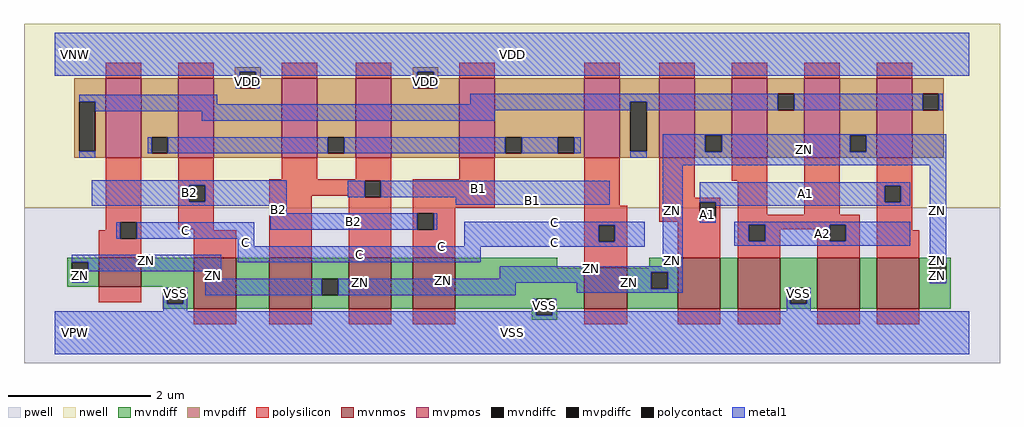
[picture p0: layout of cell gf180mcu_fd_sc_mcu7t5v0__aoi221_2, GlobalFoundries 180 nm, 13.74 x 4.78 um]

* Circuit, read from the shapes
.subckt gf180mcu_fd_sc_mcu7t5v0__aoi221_2 A1 A2 B1 B2 C ZN VDD VNW VPW VSS
XM1 VSS C ZN VPW nfet_06v0 w=0.405u l=0.6u
XM2 n1 B2 VSS VPW nfet_06v0 w=0.715u l=0.6u
XM3 ZN B1 n1 VPW nfet_06v0 w=0.715u l=0.6u
XM4 n2 B1 ZN VPW nfet_06v0 w=0.715u l=0.6u
XM5 VSS B2 n2 VPW nfet_06v0 w=0.715u l=0.6u
XM6 ZN C VSS VPW nfet_06v0 w=0.575u l=0.6u
XM7 n3 A1 ZN VPW nfet_06v0 w=0.715u l=0.6u
XM8 VSS A2 n3 VPW nfet_06v0 w=0.715u l=0.6u
XM9 n4 A2 VSS VPW nfet_06v0 w=0.715u l=0.6u
XM10 ZN A1 n4 VPW nfet_06v0 w=0.715u l=0.6u
XM11 n5 C n6 VNW pfet_06v0 w=1.12u l=0.5u m=2
XM12 VDD B2 n5 VNW pfet_06v0 w=1.12u l=0.5u m=2
XM13 n5 B1 VDD VNW pfet_06v0 w=1.12u l=0.5u m=2
XM14 ZN A1 n6 VNW pfet_06v0 w=1.12u l=0.5u m=2
XM15 n6 A2 ZN VNW pfet_06v0 w=1.12u l=0.5u m=2
.ends

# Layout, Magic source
magic
tech gf180mcuD
magscale 1 10
<< nwell >>
rect -86 352 2662 870
<< pwell >>
rect -86 -86 2662 352
<< mvnmos >>
rect 124 130 244 211
rect 392 68 512 211
rect 604 68 724 211
rect 828 68 948 211
rect 1008 68 1128 211
rect 1492 68 1612 183
rect 1755 68 1875 211
rect 1923 68 2043 211
rect 2147 68 2267 211
rect 2315 68 2435 211
<< mvpmos >>
rect 144 492 244 716
rect 348 492 448 716
rect 640 492 740 716
rect 848 492 948 716
rect 1140 492 1240 716
rect 1492 492 1592 716
rect 1703 492 1803 716
rect 1907 492 2007 716
rect 2111 492 2211 716
rect 2315 492 2415 716
<< mvndiff >>
rect 36 198 124 211
rect 36 152 49 198
rect 95 152 124 198
rect 36 130 124 152
rect 244 130 392 211
rect 304 127 392 130
rect 304 81 317 127
rect 363 81 392 127
rect 304 68 392 81
rect 512 68 604 211
rect 724 152 828 211
rect 724 106 753 152
rect 799 106 828 152
rect 724 68 828 106
rect 948 68 1008 211
rect 1128 183 1415 211
rect 1675 183 1755 211
rect 1128 95 1492 183
rect 1128 68 1356 95
rect 1343 49 1356 68
rect 1402 68 1492 95
rect 1612 170 1755 183
rect 1612 124 1680 170
rect 1726 124 1755 170
rect 1612 68 1755 124
rect 1875 68 1923 211
rect 2043 127 2147 211
rect 2043 81 2072 127
rect 2118 81 2147 127
rect 2043 68 2147 81
rect 2267 68 2315 211
rect 2435 197 2523 211
rect 2435 151 2464 197
rect 2510 151 2523 197
rect 2435 68 2523 151
rect 1402 49 1415 68
rect 1343 36 1415 49
<< mvpdiff >>
rect 508 735 580 748
rect 508 716 521 735
rect 56 651 144 716
rect 56 511 69 651
rect 115 511 144 651
rect 56 492 144 511
rect 244 551 348 716
rect 244 505 273 551
rect 319 505 348 551
rect 244 492 348 505
rect 448 689 521 716
rect 567 716 580 735
rect 1008 735 1080 748
rect 1008 716 1021 735
rect 567 689 640 716
rect 448 492 640 689
rect 740 551 848 716
rect 740 505 769 551
rect 815 505 848 551
rect 740 492 848 505
rect 948 689 1021 716
rect 1067 716 1080 735
rect 1067 689 1140 716
rect 948 492 1140 689
rect 1240 551 1492 716
rect 1240 505 1269 551
rect 1315 505 1417 551
rect 1463 505 1492 551
rect 1240 492 1492 505
rect 1592 651 1703 716
rect 1592 511 1621 651
rect 1667 511 1703 651
rect 1592 492 1703 511
rect 1803 556 1907 716
rect 1803 510 1832 556
rect 1878 510 1907 556
rect 1803 492 1907 510
rect 2007 673 2111 716
rect 2007 627 2036 673
rect 2082 627 2111 673
rect 2007 492 2111 627
rect 2211 556 2315 716
rect 2211 510 2240 556
rect 2286 510 2315 556
rect 2211 492 2315 510
rect 2415 673 2503 716
rect 2415 627 2444 673
rect 2490 627 2503 673
rect 2415 492 2503 627
<< mvndiffc >>
rect 49 152 95 198
rect 317 81 363 127
rect 753 106 799 152
rect 1356 49 1402 95
rect 1680 124 1726 170
rect 2072 81 2118 127
rect 2464 151 2510 197
<< mvpdiffc >>
rect 69 511 115 651
rect 273 505 319 551
rect 521 689 567 735
rect 769 505 815 551
rect 1021 689 1067 735
rect 1269 505 1315 551
rect 1417 505 1463 551
rect 1621 511 1667 651
rect 1832 510 1878 556
rect 2036 627 2082 673
rect 2240 510 2286 556
rect 2444 627 2490 673
<< polysilicon >>
rect 144 716 244 760
rect 348 716 448 760
rect 640 716 740 760
rect 848 716 948 760
rect 1140 716 1240 760
rect 1492 716 1592 760
rect 1703 716 1803 760
rect 1907 716 2007 760
rect 2111 716 2211 760
rect 2315 716 2415 760
rect 144 311 244 492
rect 144 288 185 311
rect 124 265 185 288
rect 231 265 244 311
rect 348 415 448 492
rect 640 432 740 492
rect 848 432 948 492
rect 1140 432 1240 492
rect 348 369 379 415
rect 425 369 448 415
rect 348 292 448 369
rect 124 211 244 265
rect 392 288 448 292
rect 604 428 948 432
rect 604 386 873 428
rect 392 211 512 288
rect 604 211 724 386
rect 828 382 873 386
rect 919 382 948 428
rect 828 211 948 382
rect 1008 352 1240 432
rect 1492 358 1592 492
rect 1703 380 1803 492
rect 1907 428 2007 492
rect 1703 367 1875 380
rect 1008 336 1128 352
rect 1008 290 1021 336
rect 1067 290 1128 336
rect 1008 211 1128 290
rect 1492 302 1612 358
rect 1703 321 1816 367
rect 1862 321 1875 367
rect 1703 312 1875 321
rect 1492 256 1532 302
rect 1578 256 1612 302
rect 124 86 244 130
rect 1492 183 1612 256
rect 1755 211 1875 312
rect 1923 332 2007 428
rect 2111 332 2211 492
rect 2315 414 2415 492
rect 2315 368 2337 414
rect 2383 368 2415 414
rect 1923 304 2267 332
rect 1923 258 1955 304
rect 2001 292 2182 304
rect 2001 258 2043 292
rect 1923 211 2043 258
rect 2147 258 2182 292
rect 2228 258 2267 304
rect 2147 211 2267 258
rect 2315 288 2415 368
rect 2315 211 2435 288
rect 392 24 512 68
rect 604 24 724 68
rect 828 24 948 68
rect 1008 24 1128 68
rect 1492 24 1612 68
rect 1755 24 1875 68
rect 1923 24 2043 68
rect 2147 24 2267 68
rect 2315 24 2435 68
<< polycontact >>
rect 185 265 231 311
rect 379 369 425 415
rect 873 382 919 428
rect 1021 290 1067 336
rect 1816 321 1862 367
rect 1532 256 1578 302
rect 2337 368 2383 414
rect 1955 258 2001 304
rect 2182 258 2228 304
<< metal1 >>
rect 0 735 2576 844
rect 0 724 521 735
rect 510 689 521 724
rect 567 724 1021 735
rect 567 689 578 724
rect 1010 689 1021 724
rect 1067 724 2576 735
rect 1067 689 1078 724
rect 69 651 458 670
rect 115 643 458 651
rect 1171 651 2036 673
rect 1171 643 1621 651
rect 115 627 1621 643
rect 115 624 1239 627
rect 415 597 1239 624
rect 69 492 115 511
rect 262 505 273 551
rect 319 505 769 551
rect 815 505 1269 551
rect 1315 505 1417 551
rect 1463 505 1482 551
rect 1667 627 2036 651
rect 2082 627 2444 673
rect 2490 627 2501 673
rect 1621 492 1667 511
rect 1713 556 2510 559
rect 1713 510 1832 556
rect 1878 510 2240 556
rect 2286 510 2510 556
rect 1713 472 2510 510
rect 105 415 654 430
rect 105 369 379 415
rect 425 369 654 415
rect 825 382 873 428
rect 919 382 1563 428
rect 105 357 654 369
rect 1130 360 1563 382
rect 608 336 654 357
rect 174 265 185 311
rect 231 265 562 311
rect 608 290 1021 336
rect 1067 290 1078 336
rect 1154 302 1662 312
rect 516 244 562 265
rect 1154 256 1532 302
rect 1578 256 1662 302
rect 1154 244 1662 256
rect 516 242 1662 244
rect 49 198 470 219
rect 516 198 1200 242
rect 95 173 470 198
rect 1713 187 1769 472
rect 1816 414 2410 424
rect 1816 368 2337 414
rect 2383 368 2410 414
rect 1816 367 2410 368
rect 1862 358 2410 367
rect 1816 310 1862 321
rect 1914 304 2410 312
rect 1914 258 1955 304
rect 2001 258 2182 304
rect 2228 258 2410 304
rect 1914 245 2410 258
rect 49 141 95 152
rect 424 152 470 173
rect 1253 170 1769 187
rect 1253 152 1680 170
rect 306 81 317 127
rect 363 81 374 127
rect 424 106 753 152
rect 799 141 1680 152
rect 799 106 1299 141
rect 1470 124 1680 141
rect 1726 124 1769 170
rect 2464 197 2510 472
rect 2464 140 2510 151
rect 1470 113 1769 124
rect 306 60 374 81
rect 1345 60 1356 95
rect 0 49 1356 60
rect 1402 60 1413 95
rect 2061 81 2072 127
rect 2118 81 2129 127
rect 2061 60 2129 81
rect 1402 49 2576 60
rect 0 -60 2576 49
<< labels >>
flabel metal1 s 825 382 1563 428 0 FreeSans 400 0 0 0 B1
port 3 nsew default input
flabel metal1 s 105 357 654 430 0 FreeSans 400 0 0 0 B2
port 4 nsew default input
flabel metal1 s 0 724 2576 844 0 FreeSans 400 0 0 0 VDD
port 7 nsew power bidirectional abutment
flabel metal1 s 2061 95 2129 127 0 FreeSans 400 0 0 0 VSS
port 10 nsew ground bidirectional abutment
flabel metal1 s 1713 472 2510 559 0 FreeSans 400 0 0 0 ZN
port 6 nsew default output
flabel metal1 s 1816 358 2410 424 0 FreeSans 400 0 0 0 A1
port 1 nsew default input
flabel metal1 s 1914 245 2410 312 0 FreeSans 400 0 0 0 A2
port 2 nsew default input
flabel metal1 s 1154 311 1662 312 0 FreeSans 400 0 0 0 C
port 5 nsew default input
flabel nwell s 10 734 110 834 0 FreeSans 400 0 0 0 VNW
port 8 nsew power bidirectional
flabel pwell s 10 -50 110 50 0 FreeSans 400 0 0 0 VPW
port 9 nsew ground bidirectional
rlabel metal1 s 1816 310 1862 358 1 A1
port 1 nsew default input
rlabel metal1 s 1130 360 1563 382 1 B1
port 3 nsew default input
rlabel metal1 s 608 336 654 357 1 B2
port 4 nsew default input
rlabel metal1 s 608 290 1078 336 1 B2
port 4 nsew default input
rlabel metal1 s 1154 265 1662 311 1 C
port 5 nsew default input
rlabel metal1 s 174 265 562 311 1 C
port 5 nsew default input
rlabel metal1 s 1154 244 1662 265 1 C
port 5 nsew default input
rlabel metal1 s 516 244 562 265 1 C
port 5 nsew default input
rlabel metal1 s 516 242 1662 244 1 C
port 5 nsew default input
rlabel metal1 s 516 198 1200 242 1 C
port 5 nsew default input
rlabel metal1 s 2464 219 2510 472 1 ZN
port 6 nsew default output
rlabel metal1 s 1713 219 1769 472 1 ZN
port 6 nsew default output
rlabel metal1 s 2464 187 2510 219 1 ZN
port 6 nsew default output
rlabel metal1 s 1713 187 1769 219 1 ZN
port 6 nsew default output
rlabel metal1 s 49 187 470 219 1 ZN
port 6 nsew default output
rlabel metal1 s 2464 173 2510 187 1 ZN
port 6 nsew default output
rlabel metal1 s 1253 173 1769 187 1 ZN
port 6 nsew default output
rlabel metal1 s 49 173 470 187 1 ZN
port 6 nsew default output
rlabel metal1 s 2464 152 2510 173 1 ZN
port 6 nsew default output
rlabel metal1 s 1253 152 1769 173 1 ZN
port 6 nsew default output
rlabel metal1 s 424 152 470 173 1 ZN
port 6 nsew default output
rlabel metal1 s 49 152 95 173 1 ZN
port 6 nsew default output
rlabel metal1 s 2464 141 2510 152 1 ZN
port 6 nsew default output
rlabel metal1 s 424 141 1769 152 1 ZN
port 6 nsew default output
rlabel metal1 s 49 141 95 152 1 ZN
port 6 nsew default output
rlabel metal1 s 2464 140 2510 141 1 ZN
port 6 nsew default output
rlabel metal1 s 1470 140 1769 141 1 ZN
port 6 nsew default output
rlabel metal1 s 424 140 1299 141 1 ZN
port 6 nsew default output
rlabel metal1 s 1470 113 1769 140 1 ZN
port 6 nsew default output
rlabel metal1 s 424 113 1299 140 1 ZN
port 6 nsew default output
rlabel metal1 s 424 106 1299 113 1 ZN
port 6 nsew default output
rlabel metal1 s 1010 689 1078 724 1 VDD
port 7 nsew power bidirectional abutment
rlabel metal1 s 510 689 578 724 1 VDD
port 7 nsew power bidirectional abutment
rlabel metal1 s 306 95 374 127 1 VSS
port 10 nsew ground bidirectional abutment
rlabel metal1 s 2061 60 2129 95 1 VSS
port 10 nsew ground bidirectional abutment
rlabel metal1 s 1345 60 1413 95 1 VSS
port 10 nsew ground bidirectional abutment
rlabel metal1 s 306 60 374 95 1 VSS
port 10 nsew ground bidirectional abutment
rlabel metal1 s 0 -60 2576 60 1 VSS
port 10 nsew ground bidirectional abutment
<< properties >>
string FIXED_BBOX 0 0 2576 784
string GDS_END 1301560
string GDS_FILE $PDKPATH/libs.ref/gf180mcu_fd_sc_mcu7t5v0/gds/gf180mcu_fd_sc_mcu7t5v0.gds
string GDS_START 1295948
string LEFclass core
string LEFsite GF018hv5v_mcu_sc7
string LEFsymmetry X Y
<< end >>
